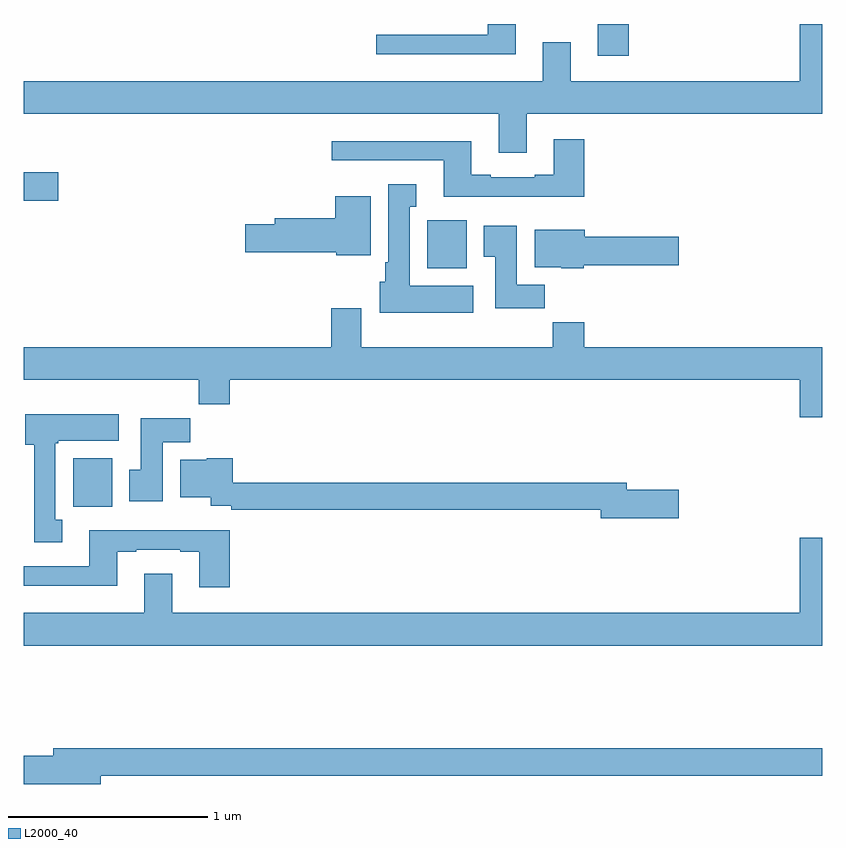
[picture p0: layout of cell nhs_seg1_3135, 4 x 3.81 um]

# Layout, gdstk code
import gdstk
lib = gdstk.Library(unit=1e-6, precision=1e-09)
def R(c, l, rs):  # rectangles x0, y0, x1, y1
    for r in rs: c.add(gdstk.rectangle(r[:2], r[2:], *l))
def P(c, l, *ps):  # polygons
    for p in ps: c.add(gdstk.Polygon(p, *l))
L2000_40 = (2000, 40)

nhs_seg1_3135 = lib.new_cell('nhs_seg1_3135')
R(nhs_seg1_3135, L2000_40, [(281.246,533.78,281.443,534.022), (283.022,534.974,283.219,535.216), (281,535.313,281.173,535.455), (283.877,536.04,284.03,536.199)])
P(nhs_seg1_3135, L2000_40, [(283.519,535.748),(285,535.748),(285,536.199),(284.888,536.199),(284.888,535.912),(283.741,535.912),(283.741,536.107),(283.601,536.107),(283.601,535.912),(281,535.912),(281,535.748),(283.379,535.748),(283.379,535.554),(283.519,535.554)],
  [(283.465,536.199),(283.325,536.199),(283.325,536.145),(282.765,536.145),(282.765,536.048),(283.465,536.048)],
  [(283.808,535.621),(283.655,535.621),(283.655,535.444),(283.559,535.444),(283.559,535.431),(283.339,535.431),(283.339,535.444),(283.243,535.444),(283.243,535.612),(282.543,535.612),(282.543,535.515),(283.103,535.515),(283.103,535.334),(283.808,535.334)],
  [(283.252,534.886),(282.934,534.886),(282.934,535.283),(282.967,535.283),(282.967,535.396),(282.827,535.396),(282.827,535.006),(282.812,535.006),(282.812,534.906),(282.782,534.906),(282.782,534.752),(283.252,534.752)],
  [(282.739,535.336),(282.56,535.336),(282.56,535.226),(282.257,535.226),(282.257,535.196),(282.108,535.196),(282.108,535.054),(282.564,535.054),(282.564,535.04),(282.739,535.04)],
  [(283.61,534.892),(283.471,534.892),(283.471,535.189),(283.304,535.189),(283.304,535.033),(283.361,535.033),(283.361,534.774),(283.61,534.774)],
  [(283.806,534.991),(284.281,534.991),(284.281,535.133),(283.81,535.133),(283.81,535.168),(283.559,535.168),(283.559,534.98),(283.692,534.98),(283.692,534.974),(283.806,534.974)],
  [(285,534.58),(283.808,534.58),(283.808,534.704),(283.651,534.704),(283.651,534.58),(282.691,534.58),(282.691,534.775),(282.539,534.775),(282.539,534.58),(281,534.58),(281,534.416),(281.875,534.416),(281.875,534.292),(282.032,534.292),(282.032,534.416),(284.888,534.416),(284.888,534.228),(285,534.228)],
  [(281.191,533.714),(281.158,533.714),(281.158,534.097),(281.172,534.097),(281.172,534.11),(281.476,534.11),(281.476,534.244),(281.006,534.244),(281.006,534.09),(281.051,534.09),(281.051,533.601),(281.191,533.601)],
  [(281.695,534.104),(281.834,534.104),(281.834,534.223),(281.585,534.223),(281.585,533.964),(281.528,533.964),(281.528,533.808),(281.695,533.808)],
  [(284.281,533.864),(284.02,533.864),(284.02,533.9),(282.046,533.9),(282.046,534.022),(281.916,534.022),(281.916,534.016),(281.783,534.016),(281.783,533.828),(281.937,533.828),(281.937,533.784),(282.04,533.784),(282.04,533.764),(283.892,533.764),(283.892,533.722),(284.281,533.722)],
  [(282.032,533.662),(281.327,533.662),(281.327,533.481),(281,533.481),(281,533.384),(281.467,533.384),(281.467,533.553),(281.563,533.553),(281.563,533.565),(281.783,533.565),(281.783,533.553),(281.879,533.553),(281.879,533.376),(282.032,533.376)],
  [(285,533.623),(284.888,533.623),(284.888,533.248),(281.743,533.248),(281.743,533.443),(281.603,533.443),(281.603,533.248),(281,533.248),(281,533.084),(285,533.084)],
  [(281.386,532.432),(285,532.432),(285,532.568),(281.147,532.568),(281.147,532.532),(281,532.532),(281,532.39),(281.386,532.39)])

lib.write_gds('nhs_seg1_3135.gds')
